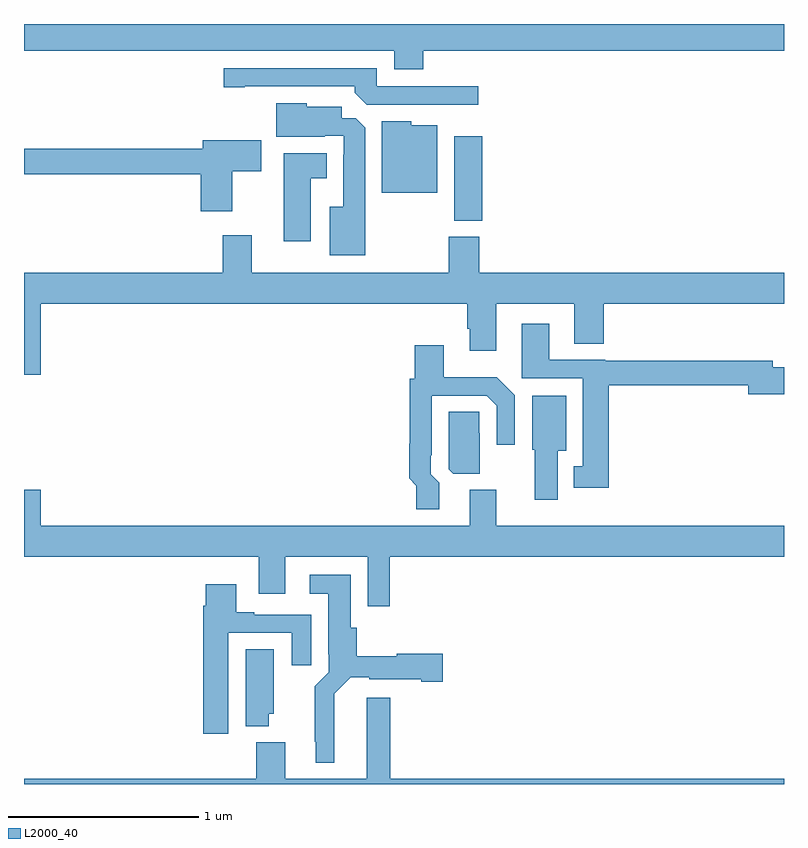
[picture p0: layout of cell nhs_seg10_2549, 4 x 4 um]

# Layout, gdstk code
import gdstk
lib = gdstk.Library(unit=1e-6, precision=1e-09)
def R(c, l, rs):  # rectangles x0, y0, x1, y1
    for r in rs: c.add(gdstk.rectangle(r[:2], r[2:], *l))
def P(c, l, *ps):  # polygons
    for p in ps: c.add(gdstk.Polygon(p, *l))
L2000_40 = (2000, 40)

nhs_seg10_2549 = lib.new_cell('nhs_seg10_2549')
R(nhs_seg10_2549, L2000_40, [(251.264,1255.465,251.411,1255.909)])
P(nhs_seg10_2549, L2000_40, [(251.102,1256.36),(253,1256.36),(253,1256.5),(249,1256.5),(249,1256.36),(250.949,1256.36),(250.949,1256.261),(251.102,1256.261)],
  [(251.392,1256.172),(250.857,1256.172),(250.857,1256.268),(250.05,1256.268),(250.05,1256.167),(250.162,1256.167),(250.162,1256.172),(250.742,1256.172),(250.742,1256.138),(250.803,1256.076),(251.392,1256.076)],
  [(250.795,1255.955),(250.746,1256.004),(250.672,1256.004),(250.672,1256.065),(250.488,1256.065),(250.488,1256.083),(250.328,1256.083),(250.328,1255.907),(250.583,1255.907),(250.583,1255.911),(250.683,1255.911),(250.683,1255.811),(250.679,1255.811),(250.679,1255.537),(250.61,1255.537),(250.61,1255.283),(250.795,1255.283)],
  [(251.176,1255.966),(251.037,1255.966),(251.037,1255.987),(250.883,1255.987),(250.883,1255.613),(251.176,1255.613)],
  [(250.096,1255.726),(250.249,1255.726),(250.249,1255.888),(249.941,1255.888),(249.941,1255.844),(249,1255.844),(249,1255.708),(249.929,1255.708),(249.929,1255.515),(250.096,1255.515)],
  [(250.51,1255.688),(250.594,1255.688),(250.594,1255.819),(250.367,1255.819),(250.367,1255.356),(250.51,1255.356)],
  [(249.088,1255.028),(251.333,1255.028),(251.333,1254.895),(251.345,1254.895),(251.345,1254.78),(251.485,1254.78),(251.485,1255.028),(251.897,1255.028),(251.897,1254.817),(252.05,1254.817),(252.05,1255.028),(253,1255.028),(253,1255.192),(251.396,1255.192),(251.396,1255.38),(251.236,1255.38),(251.236,1255.192),(250.198,1255.192),(250.198,1255.387),(250.046,1255.387),(250.046,1255.192),(249,1255.192),(249,1254.654),(249.088,1254.654)],
  [(252.077,1254.598),(252.812,1254.598),(252.812,1254.551),(253,1254.551),(253,1254.693),(252.94,1254.693),(252.94,1254.727),(252.06,1254.727),(252.06,1254.732),(251.764,1254.732),(251.764,1254.922),(251.621,1254.922),(251.621,1254.636),(251.942,1254.636),(251.942,1254.173),(251.894,1254.173),(251.894,1254.06),(252.077,1254.06)],
  [(251.185,1254.086),(251.142,1254.129),(251.142,1254.229),(251.145,1254.229),(251.145,1254.543),(251.436,1254.543),(251.487,1254.492),(251.487,1254.285),(251.583,1254.285),(251.583,1254.546),(251.489,1254.64),(251.209,1254.64),(251.209,1254.808),(251.057,1254.808),(251.057,1254.633),(251.029,1254.633),(251.029,1254.29),(251.027,1254.29),(251.027,1254.108),(251.065,1254.069),(251.065,1253.946),(251.185,1253.946)],
  [(251.809,1254.254),(251.854,1254.254),(251.854,1254.544),(251.675,1254.544),(251.675,1254.258),(251.687,1254.258),(251.687,1253.997),(251.809,1253.997)],
  [(251.398,1254.347),(251.397,1254.347),(251.397,1254.458),(251.235,1254.458),(251.235,1254.156),(251.259,1254.133),(251.398,1254.133)],
  [(250.925,1253.696),(253,1253.696),(253,1253.86),(251.485,1253.86),(251.485,1254.048),(251.345,1254.048),(251.345,1253.86),(249.088,1253.86),(249.088,1254.049),(249,1254.049),(249,1253.696),(250.235,1253.696),(250.235,1253.502),(250.375,1253.502),(250.375,1253.696),(250.809,1253.696),(250.809,1253.436),(250.925,1253.436)],
  [(250.633,1252.976),(250.719,1253.063),(250.818,1253.063),(250.818,1253.051),(251.09,1253.051),(251.09,1253.039),(251.203,1253.039),(251.203,1253.186),(250.962,1253.186),(250.962,1253.173),(250.751,1253.173),(250.751,1253.322),(250.72,1253.322),(250.72,1253.602),(250.503,1253.602),(250.503,1253.501),(250.601,1253.501),(250.601,1253.182),(250.605,1253.182),(250.605,1253.088),(250.531,1253.014),(250.531,1252.723),(250.535,1252.723),(250.535,1252.613),(250.633,1252.613)],
  [(250.075,1253.295),(250.409,1253.295),(250.409,1253.124),(250.513,1253.124),(250.513,1253.391),(250.213,1253.391),(250.213,1253.404),(250.117,1253.404),(250.117,1253.551),(249.956,1253.551),(249.956,1253.438),(249.944,1253.438),(249.944,1252.764),(250.075,1252.764)],
  [(250.288,1252.869),(250.315,1252.869),(250.315,1253.21),(250.166,1253.21),(250.166,1252.805),(250.288,1252.805)],
  [(253,1252.528),(250.928,1252.528),(250.928,1252.954),(250.805,1252.954),(250.805,1252.528),(250.375,1252.528),(250.375,1252.72),(250.223,1252.72),(250.223,1252.528),(249,1252.528),(249,1252.5),(253,1252.5)])

lib.write_gds('nhs_seg10_2549.gds')
